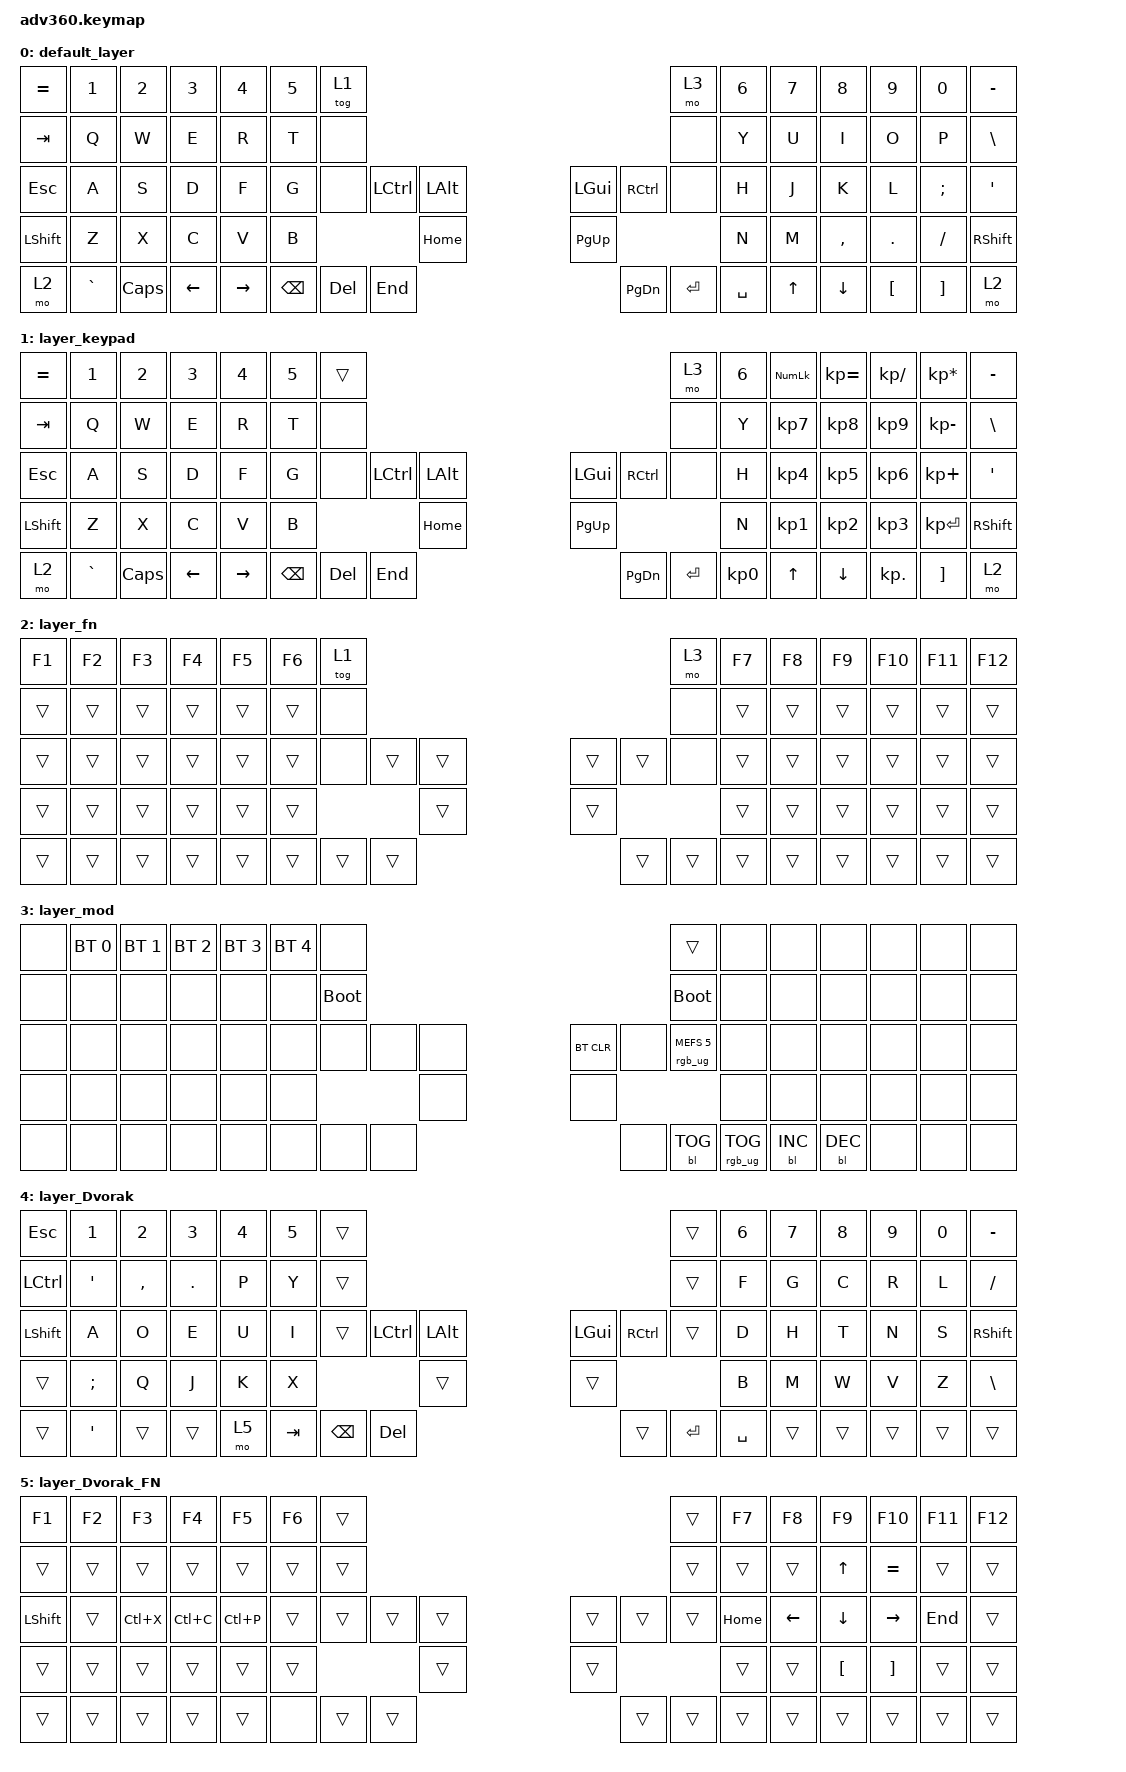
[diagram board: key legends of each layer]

/*
 * Copyright (c) 2020 The ZMK Contributors
 *
 * SPDX-License-Identifier: MIT
 */


/* THIS FILE WAS GENERATED!
 *
 * This file was generated automatically. You may or may not want to
 * edit it directly.
 */

#include <behaviors.dtsi>
#include <dt-bindings/zmk/keys.h>
#include <dt-bindings/zmk/bt.h>
#include <dt-bindings/zmk/rgb.h>
#include <dt-bindings/zmk/backlight.h>

/ {
  behaviors {
    #include "macros.dtsi"

    hm: homerow_mods {
        compatible = "zmk,behavior-hold-tap";
        label = "HOMEROW_MODS";
        #binding-cells = <2>;
        tapping-term-ms = <200>;
        quick_tap_ms = <175>;
        flavor = "tap-preferred";
        bindings = <&kp>, <&kp>;
    };
  };

    keymap {
        compatible = "zmk,keymap";


        default_layer {
            bindings = <
 &kp EQUAL     &kp N1    &kp N2    &kp N3     &kp N4  &kp N5              &tog 1                                                                 &mo 3  &kp N6  &kp N7     &kp N8    &kp N9    &kp N0  &kp MINUS
   &kp TAB      &kp Q     &kp W     &kp E      &kp R   &kp T               &none                                                                 &none   &kp Y   &kp U      &kp I     &kp O     &kp P   &kp BSLH
   &kp ESC      &kp A     &kp S     &kp D      &kp F   &kp G               &none  &kp LCTRL  &kp LALT                   &kp LGUI  &kp RCTRL      &none   &kp H   &kp J      &kp K     &kp L  &kp SEMI    &kp SQT
 &kp LSHFT      &kp Z     &kp X     &kp C      &kp V   &kp B                                 &kp HOME                  &kp PG_UP                         &kp N   &kp M  &kp COMMA   &kp DOT  &kp FSLH  &kp RSHFT
     &mo 2  &kp GRAVE  &kp CAPS  &kp LEFT  &kp RIGHT                    &kp BSPC    &kp DEL   &kp END                  &kp PG_DN  &kp ENTER  &kp SPACE          &kp UP   &kp DOWN  &kp LBKT  &kp RBKT      &mo 2
            >;
        };

        layer_keypad {
            bindings = <
 &kp EQUAL     &kp N1    &kp N2    &kp N3     &kp N4  &kp N5              &trans                                                                 &mo 3  &kp N6  &kp KP_NUM  &kp KP_EQUAL  &kp KP_DIVIDE  &kp KP_MULTIPLY  &kp MINUS
   &kp TAB      &kp Q     &kp W     &kp E      &kp R   &kp T               &none                                                                 &none   &kp Y   &kp KP_N7     &kp KP_N8      &kp KP_N9     &kp KP_MINUS   &kp BSLH
   &kp ESC      &kp A     &kp S     &kp D      &kp F   &kp G               &none  &kp LCTRL  &kp LALT                   &kp LGUI  &kp RCTRL      &none   &kp H   &kp KP_N4     &kp KP_N5      &kp KP_N6      &kp KP_PLUS    &kp SQT
 &kp LSHFT      &kp Z     &kp X     &kp C      &kp V   &kp B                                 &kp HOME                  &kp PG_UP                         &kp N   &kp KP_N1     &kp KP_N2      &kp KP_N3     &kp KP_ENTER  &kp RSHFT
     &mo 2  &kp GRAVE  &kp CAPS  &kp LEFT  &kp RIGHT                    &kp BSPC    &kp DEL   &kp END                  &kp PG_DN  &kp ENTER  &kp KP_N0              &kp UP      &kp DOWN     &kp KP_DOT         &kp RBKT      &mo 2
            >;
        };

        layer_fn {
            bindings = <
 &kp F1  &kp F2  &kp F3  &kp F4  &kp F5  &kp F6            &tog 1                                                   &mo 3  &kp F7  &kp F8  &kp F9  &kp F10  &kp F11  &kp F12
 &trans  &trans  &trans  &trans  &trans  &trans             &none                                                   &none  &trans  &trans  &trans   &trans   &trans   &trans
 &trans  &trans  &trans  &trans  &trans  &trans             &none  &trans  &trans                  &trans  &trans   &none  &trans  &trans  &trans   &trans   &trans   &trans
 &trans  &trans  &trans  &trans  &trans  &trans                            &trans                  &trans                  &trans  &trans  &trans   &trans   &trans   &trans
 &trans  &trans  &trans  &trans  &trans                    &trans  &trans  &trans                  &trans  &trans  &trans          &trans  &trans   &trans   &trans   &trans
            >;
        };

        layer_mod {
            bindings = <
  &none  &bt BT_SEL 0  &bt BT_SEL 1  &bt BT_SEL 2  &bt BT_SEL 3  &bt BT_SEL 4                  &none                                                                          &trans   &none       &none       &none   &none   &none   &none
  &none         &none         &none         &none         &none         &none            &bootloader                                                                     &bootloader   &none       &none       &none   &none   &none   &none
  &none         &none         &none         &none         &none         &none                  &none   &none   &none                  &bt BT_CLR       &none  &rgb_ug RGB_MEFS_CMD 5   &none       &none       &none   &none   &none   &none
  &none         &none         &none         &none         &none         &none                                  &none                       &none                                       &none       &none       &none   &none   &none   &none
  &none         &none         &none         &none         &none                                &none   &none   &none                       &none  &bl BL_TOG         &rgb_ug RGB_TOG          &bl BL_INC  &bl BL_DEC   &none   &none   &none
            >;
        };

        layer_Dvorak {
            bindings = <
   &kp ESC   &kp NUMBER_1  &kp NUMBER_2  &kp NUMBER_3  &kp NUMBER_4  &kp NUMBER_5             &trans                                                                                &trans  &kp NUMBER_6  &kp NUMBER_7  &kp NUMBER_8  &kp NUMBER_9  &kp NUMBER_0   &kp MINUS
 &kp LCTRL        &kp SQT     &kp COMMA       &kp DOT         &kp P         &kp Y             &trans                                                                                &trans         &kp F         &kp G         &kp C         &kp R         &kp L    &kp FSLH
 &kp LSHFT          &kp A         &kp O         &kp E         &kp U         &kp I             &trans  &kp LEFT_CONTROL    &kp LALT                  &kp LGUI  &kp RIGHT_CONTROL     &trans         &kp D         &kp H         &kp T         &kp N         &kp S  &kp RSHIFT
    &trans  &kp SEMICOLON         &kp Q         &kp J         &kp K         &kp X                                           &trans                    &trans                                       &kp B         &kp M         &kp W         &kp V         &kp Z    &kp BSLH
    &trans       &kp APOS        &trans        &trans         &mo 5                          &kp TAB     &kp BACKSPACE  &kp DELETE                    &trans          &kp ENTER  &kp SPACE                      &trans        &trans        &trans        &trans      &trans
            >;
        };

        layer_Dvorak_FN {
            bindings = <
         &kp F1  &kp F2     &kp F3     &kp F4     &kp F5  &kp F6            &trans                                                  &trans    &kp F7          &kp F8          &kp F9          &kp F10  &kp F11  &kp F12
         &trans  &trans     &trans     &trans     &trans  &trans            &trans                                                  &trans    &trans          &trans    &kp UP_ARROW        &kp EQUAL   &trans   &trans
 &kp LEFT_SHIFT  &trans  &kp LC(X)  &kp LC(C)  &kp LC(P)  &trans            &trans  &trans  &trans                  &trans  &trans  &trans  &kp HOME  &kp LEFT_ARROW  &kp DOWN_ARROW  &kp RIGHT_ARROW  &kp END   &trans
         &trans  &trans     &trans     &trans     &trans  &trans                            &trans                  &trans                    &trans          &trans        &kp LBKT         &kp RBKT   &trans   &trans
         &trans  &trans     &trans     &trans     &trans                     &none  &trans  &trans                  &trans  &trans  &trans                    &trans          &trans           &trans   &trans   &trans
            >;
        };

    };
};
